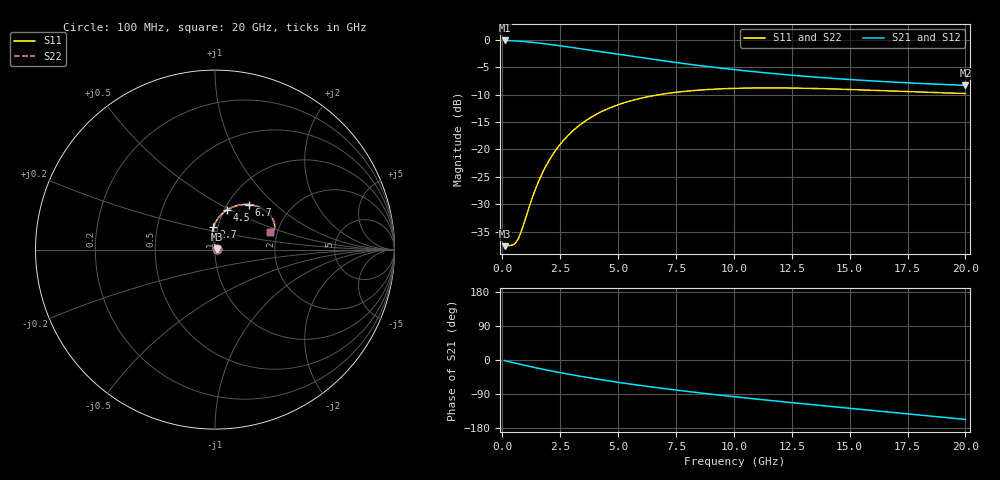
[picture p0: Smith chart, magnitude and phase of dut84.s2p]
! Touchstone file exported from HFSS 2024.1.0
!  File:  C:/UserFiles/LocalFiles/RDL_TSV_Batchsim/temp_RDL_TSV_84_1779415568.aedt
!  Generated:  10:23:04 AM May 22, 2026
!  Design:  RDL_TSV
!  Project:  temp_RDL_TSV_84_1779415568
!  Setup:  Setup1
!  Solution:  Sweep
! Variables:
!  dtsv = 8.3um
!  hbump = 3um
!  htsv = 92.57um
!  ldown = 476.89um
!  lrdl = 118.59um
!  p = 40
!  p1 = 55.11um
!  rhole = 10um
!  subl = 1905.03um
!  t = 450um
!  tdown = 4.98um
!  trdl = 2.22um
!  viad = 10um
!  wdown = 13.19um
!  wrdl = 18.48um
!  xbump = 18um
# GHz S MA R 50.000000
! Terminal data exported
! Port[1] = TM1_1_T1
! Port[2] = TM1_4_T1
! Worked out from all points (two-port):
!   200 points, 100 MHz to 20 GHz, reference 50 ohm
!   highest |S21| = -0.12 dB at 100 MHz (marker M1); lowest = -8.3 dB at 20 GHz (marker M2)
!   |S21| within 3 dB of the highest: start of sweep to 5.761 GHz
!   lowest |S11| = -37.7 dB at 100 MHz (marker M3), VSWR 1.03, Z = 51.3 + j0.19 ohm
!   |S11| at or under -10 dB: start of sweep to 6.796 GHz
!   |S22| runs from -37.7 to -8.8 dB; largest |S21 - S12| = 1e-14
!   S11 on the Smith chart (normalised r, x): 100 MHz: 1.03, +0.00; 2.7 GHz: 0.95, +0.24; 4.5 GHz: 1.03, +0.48; 6.7 GHz: 1.25, +0.70; 20 GHz: 1.83, +0.41
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0.1  0.01307 8.1  0.9866 -1.5  0.9866 -1.5  0.01307 8.1
! Gamma 0 0 0 0
! Port Impedance 50 0 50 0
0.5  0.01359 42.7  0.98 -7.4  0.98 -7.4  0.01359 42.7
0.6  0.01422 53.4  0.9773 -8.8  0.9773 -8.8  0.01422 53.4
0.7  0.01543 64.1  0.9742 -10.2  0.9742 -10.2  0.01543 64.1
0.9  0.01997 82.1  0.967 -13.1  0.967 -13.1  0.01997 82.2
1.3  0.03638 99.2  0.9492 -18.5  0.9492 -18.5  0.03639 99.2
1.7  0.05883 102.2  0.9282 -23.7  0.9282 -23.7  0.05885 102.2
1.9  0.07135 101.5  0.9169 -26.2  0.9169 -26.2  0.07137 101.6
2.2  0.09101 99.3  0.8994 -29.9  0.8994 -29.9  0.09105 99.3
2.7  0.1246 93.9  0.8696 -35.6  0.8696 -35.6  0.1247 93.9
3.1  0.1511 89.1  0.8456 -40.0  0.8456 -40.0  0.1511 89.2
3.5  0.1763 84.3  0.8219 -44.3  0.8219 -44.3  0.1764 84.3
4.5  0.232 72.9  0.7646 -54.2  0.7646 -54.2  0.2321 72.9
5.5  0.2758 63.0  0.7115 -63.2  0.7115 -63.2  0.276 63.0
6.7  0.3138 53.1  0.6544 -73.2  0.6544 -73.2  0.314 53.1
6.8  0.3163 52.3  0.65 -74.0  0.65 -74.0  0.3165 52.4
8.4  0.3462 41.9  0.5863 -85.9  0.5863 -85.9  0.3464 42.0
10.1  0.3609 33.5  0.5322 -97.5  0.5322 -97.5  0.3611 33.6
11.7  0.364 27.5  0.4921 -107.6  0.4921 -107.6  0.3642 27.5
13.4  0.36 22.8  0.4587 -117.9  0.4587 -117.9  0.3602 22.8
16.7  0.3415 17.8  0.4132 -137.4  0.4132 -137.4  0.3417 17.9
20  0.3238 17.8  0.3838 -156.9  0.3838 -156.9  0.324 17.9
